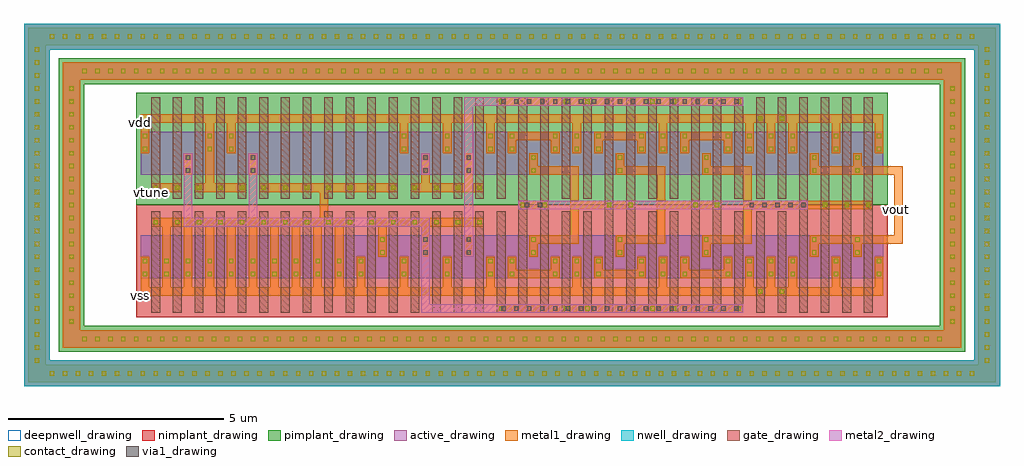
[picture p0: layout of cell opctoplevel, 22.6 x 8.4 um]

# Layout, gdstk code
import gdstk
lib = gdstk.Library(unit=1e-6, precision=1e-09)
def R(c, l, rs):  # rectangles x0, y0, x1, y1
    for r in rs: c.add(gdstk.rectangle(r[:2], r[2:], *l))
def A(c, l, x, y, w, h, nx, ny, dx, dy):  # array of equal rectangles
    R(c, l, [(x+i*dx, y+j*dy, x+i*dx+w, y+j*dy+h) for i in range(nx) for j in range(ny)])
def P(c, l, *ps):  # polygons
    for p in ps: c.add(gdstk.Polygon(p, *l))
active_drawing = (1, 0)
nwell_drawing = (3, 0)
pimplant_drawing = (4, 0)
nimplant_drawing = (5, 0)
gate_drawing = (6, 0)
contact_drawing = (7, 0)
metal1_drawing = (8, 0)
via1_drawing = (9, 0)
metal2_drawing = (10, 0)
deepnwell_drawing = (33, 0)

inverterref = lib.new_cell('inverterref')
A(inverterref, active_drawing, -0.25, 0, 0.7, 1, 4, 2, 0.5, 2.4)
A(inverterref, pimplant_drawing, -0.35, 1.7, 0.9, 2.6, 4, 1, 0.5, 0)
A(inverterref, nimplant_drawing, -0.35, -0.9, 0.9, 2.6, 4, 1, 0.5, 0)
R(inverterref, gate_drawing, [(0,-0.8,0.2,1.55), (0.5,-0.8,0.7,1.8), (1,-0.8,1.2,1.8), (1.5,-0.8,1.7,1.55), (0.5,1.7,0.7,4.2), (1,1.7,1.2,4.2), (0,1.85,0.2,4.2), (1.5,1.85,1.7,4.2)])
R(inverterref, contact_drawing, [(0.05,-0.75,0.15,-0.65), (1.55,-0.75,1.65,-0.65), (-0.2,0.05,-0.1,0.15), (0.3,0.05,0.4,0.15), (1.3,0.05,1.4,0.15), (1.8,0.05,1.9,0.15), (-0.2,0.35,-0.1,0.45), (0.3,0.35,0.4,0.45), (1.3,0.35,1.4,0.45), (1.8,0.35,1.9,0.45), (0.8,0.55,0.9,0.65), (0.8,0.85,0.9,0.95), (0.55,1.65,0.65,1.75), (1.05,1.65,1.15,1.75), (0.8,2.45,0.9,2.55), (0.8,2.75,0.9,2.85), (-0.2,2.95,-0.1,3.05), (0.3,2.95,0.4,3.05), (1.3,2.95,1.4,3.05), (1.8,2.95,1.9,3.05), (-0.2,3.25,-0.1,3.35), (0.3,3.25,0.4,3.35), (1.3,3.25,1.4,3.35), (1.8,3.25,1.9,3.35), (0.05,4.05,0.15,4.15), (1.55,4.05,1.65,4.15)])
R(inverterref, metal1_drawing, [(0,-0.8,0.2,-0.6), (1.5,-0.8,1.7,-0.6), (-0.25,-0.4,1.95,-0.2), (-0.25,-0.2,-0.05,0), (1.75,-0.2,1.95,0), (-0.25,0,-0.05,0.5), (0.25,0,0.45,0.5), (0.45,0,1.25,0.2), (1.25,0,1.45,0.5), (1.75,0,1.95,0.5), (0.75,0.5,0.95,1), (0.5,1.6,0.7,1.8), (0.5,1.6,1.2,1.8), (1,1.6,1.2,1.8), (0.75,2.4,0.95,2.9), (-0.25,2.9,-0.05,3.4), (0.25,2.9,0.45,3.4), (1.25,2.9,1.45,3.4), (1.75,2.9,1.95,3.4), (0.45,3.2,1.25,3.4), (-0.25,3.4,-0.05,3.6), (1.75,3.4,1.95,3.6), (-0.25,3.6,1.95,3.8), (0,4,0.2,4.2), (1.5,4,1.7,4.2)])
P(inverterref, metal1_drawing, [(0.95,2.4),(1.7,2.4),(1.7,1),(0.95,1),(0.95,0.8),(1.9,0.8),(1.9,2.6),(0.95,2.6)])
inverterref.add(gdstk.Label('vin', (0.5,1.6), layer=8, texttype=1))
inverterref.add(gdstk.Label('vout', (1.7,1.6), layer=8, texttype=1))
inverterref.add(gdstk.Label('vbiasp', (0.75,4), layer=8, texttype=1))
inverterref.add(gdstk.Label('vbiasn', (0.75,-0.8), layer=8, texttype=1))
inverterref.add(gdstk.Label('vdd', (-0.25,3.6), layer=8, texttype=1))
inverterref.add(gdstk.Label('vss', (-0.25,-0.4), layer=8, texttype=1))

currentmirror = lib.new_cell('currentmirror')
A(currentmirror, active_drawing, -0.25, 0, 0.7, 1, 16, 2, 0.5, 2.4)
A(currentmirror, pimplant_drawing, -0.35, 1.7, 0.9, 2.6, 16, 1, 0.5, 0)
A(currentmirror, nimplant_drawing, -0.35, -0.9, 0.9, 2.6, 16, 1, 0.5, 0)
A(currentmirror, gate_drawing, 0, -0.8, 0.2, 2.35, 16, 2, 0.5, 2.65)
A(currentmirror, contact_drawing, -0.2, 0.05, 0.1, 0.1, 11, 2, 0.5, 0.3)
A(currentmirror, contact_drawing, 5.3, 0.55, 0.1, 0.1, 3, 2, 1, 0.3)
A(currentmirror, contact_drawing, 0.05, 1.25, 0.1, 0.1, 16, 2, 0.5, 0.8)
R(currentmirror, contact_drawing, [(5.8,0.05,5.9,0.15), (6.8,0.05,6.9,0.15), (5.8,0.35,5.9,0.45), (6.8,0.35,6.9,0.45), (0.8,2.45,0.9,2.55), (2.3,2.45,2.4,2.55), (6.3,2.45,6.4,2.55), (7.3,2.45,7.4,2.55), (0.8,2.75,0.9,2.85), (2.3,2.75,2.4,2.85), (6.3,2.75,6.4,2.85), (7.3,2.75,7.4,2.85), (-0.2,2.95,-0.1,3.05), (1.3,2.95,1.4,3.05), (1.8,2.95,1.9,3.05), (5.8,2.95,5.9,3.05), (6.8,2.95,6.9,3.05), (-0.2,3.25,-0.1,3.35), (1.3,3.25,1.4,3.35), (1.8,3.25,1.9,3.35), (5.8,3.25,5.9,3.35), (6.8,3.25,6.9,3.35)])
A(currentmirror, metal1_drawing, -0.25, -0.2, 0.2, 0.2, 11, 1, 0.5, 0)
A(currentmirror, metal1_drawing, -0.25, 0, 0.2, 0.5, 11, 1, 0.5, 0)
A(currentmirror, metal1_drawing, 0.25, 0.5, 0.2, 0.7, 9, 1, 0.5, 0)
A(currentmirror, metal1_drawing, 0, 1.2, 0.2, 0.2, 16, 2, 0.5, 0.8)
R(currentmirror, metal1_drawing, [(-0.25,-0.4,7.95,-0.2), (5.75,-0.2,5.95,0), (6.75,-0.2,6.95,0), (5.75,0,5.95,0.5), (6.75,0,6.95,0.5), (5.25,0.5,5.45,1), (6.25,0.5,6.45,1), (6.25,0.5,6.45,1), (7.25,0.5,7.45,1), (7.25,0.5,7.45,1), (5.25,1,5.45,1.2), (6.25,1,6.45,1.2), (0,1.2,4.7,1.4), (3.9,1.2,4.1,2.2), (5,1.2,7.7,1.4), (0,2,0.7,2.2), (1,2,2.2,2.2), (2.5,2,5.7,2.2), (6,2,7.7,2.2), (1.25,2.2,1.45,2.9), (6.25,2.2,6.45,2.4), (7.25,2.2,7.45,2.4), (0.75,2.4,0.95,2.9), (0.75,2.4,0.95,2.9), (2.25,2.4,2.45,2.9), (2.25,2.4,2.45,2.9), (6.25,2.4,6.45,2.9), (6.25,2.4,6.45,2.9), (7.25,2.4,7.45,2.9), (7.25,2.4,7.45,2.9), (-0.25,2.9,-0.05,3.4), (1.25,2.9,1.45,3.4), (1.75,2.9,1.95,3.4), (5.75,2.9,5.95,3.4), (6.75,2.9,6.95,3.4), (-0.25,3.4,-0.05,3.6), (1.25,3.4,1.45,3.6), (1.75,3.4,1.95,3.6), (5.75,3.4,5.95,3.6), (6.75,3.4,6.95,3.6), (-0.25,3.6,7.95,3.8)])
R(currentmirror, via1_drawing, [(6.3,0.55,6.4,0.65), (7.3,0.55,7.4,0.65), (6.3,0.85,6.4,0.95), (7.3,0.85,7.4,0.95), (0.8,2.45,0.9,2.55), (2.3,2.45,2.4,2.55), (6.3,2.45,6.4,2.55), (7.3,2.45,7.4,2.55), (0.8,2.75,0.9,2.85), (2.3,2.75,2.4,2.85), (6.3,2.75,6.4,2.85), (7.3,2.75,7.4,2.85)])
R(currentmirror, metal2_drawing, [(6.25,0.5,6.45,1), (7.25,0.5,7.45,1), (7.25,0.5,7.45,2.9), (0.75,1.2,0.95,2.4), (2.25,1.2,2.45,2.4), (0.75,2.4,0.95,2.9), (2.25,2.4,2.45,2.9), (6.25,2.4,6.45,2.9), (7.25,2.4,7.45,2.9)])

buffer = lib.new_cell('buffer')
A(buffer, active_drawing, -0.25, 0, 0.7, 1, 6, 2, 0.5, 2.4)
A(buffer, pimplant_drawing, -0.35, 1.7, 0.9, 2.6, 6, 1, 0.5, 0)
A(buffer, nimplant_drawing, -0.35, -0.9, 0.9, 2.6, 6, 1, 0.5, 0)
A(buffer, gate_drawing, 1, -0.8, 0.2, 2.6, 4, 1, 0.5, 0)
A(buffer, gate_drawing, 1, 1.7, 0.2, 2.5, 4, 1, 0.5, 0)
R(buffer, gate_drawing, [(0,-0.8,0.2,1.55), (0.5,-0.8,0.7,1.55), (0,1.85,0.2,4.2), (0.5,1.85,0.7,4.2)])
A(buffer, contact_drawing, -0.2, 0.05, 0.1, 0.1, 3, 2, 0.5, 0.3)
A(buffer, contact_drawing, 1.05, 1.65, 0.1, 0.1, 4, 1, 0.5, 0)
A(buffer, contact_drawing, -0.2, 2.95, 0.1, 0.1, 3, 2, 0.5, 0.3)
R(buffer, contact_drawing, [(0.05,-0.35,0.15,-0.25), (0.55,-0.35,0.65,-0.25), (1.8,0.05,1.9,0.15), (2.8,0.05,2.9,0.15), (1.8,0.35,1.9,0.45), (2.8,0.35,2.9,0.45), (1.3,0.55,1.4,0.65), (2.3,0.55,2.4,0.65), (1.3,0.85,1.4,0.95), (2.3,0.85,2.4,0.95), (1.3,2.45,1.4,2.55), (2.3,2.45,2.4,2.55), (1.3,2.75,1.4,2.85), (2.3,2.75,2.4,2.85), (1.8,2.95,1.9,3.05), (2.8,2.95,2.9,3.05), (1.8,3.25,1.9,3.35), (2.8,3.25,2.9,3.35), (0.05,3.65,0.15,3.75), (0.55,3.65,0.65,3.75)])
A(buffer, metal1_drawing, -0.25, -0.2, 0.2, 0.2, 3, 2, 0.5, 3.6)
A(buffer, metal1_drawing, -0.25, 0, 0.2, 0.5, 3, 2, 0.5, 2.9)
A(buffer, metal1_drawing, 1, 1.6, 0.2, 0.2, 4, 1, 0.5, 0)
R(buffer, metal1_drawing, [(-0.25,-0.4,2.95,-0.2), (0,-0.4,0.2,-0.2), (0.5,-0.4,0.7,-0.2), (1.75,-0.2,1.95,0), (2.75,-0.2,2.95,0), (1.75,0,1.95,0.5), (2.75,0,2.95,0.5), (1.25,0.5,1.45,1), (2.25,0.5,2.45,1), (1,1.6,2.7,1.8), (1.25,2.4,1.45,2.9), (2.25,2.4,2.45,2.9), (1.75,2.9,1.95,3.4), (2.75,2.9,2.95,3.4), (1.75,3.4,1.95,3.6), (2.75,3.4,2.95,3.6), (-0.25,3.6,2.95,3.8), (0,3.6,0.2,3.8), (0.5,3.6,0.7,3.8)])
P(buffer, metal1_drawing, [(1.45,2.4),(3.2,2.4),(3.2,1),(1.45,1),(1.45,0.8),(3.4,0.8),(3.4,2.6),(1.45,2.6)])

nguardring = lib.new_cell('nguardring')
R(nguardring, active_drawing, [(-0.4,-0.4,22,0), (-0.4,-0.4,0,7.8), (21.6,-0.4,22,7.8), (-0.4,7.4,22,7.8)])
P(nguardring, nwell_drawing, [(-0.5,-0.5),(22.1,-0.5),(22.1,7.9),(-0.5,7.9),(-0.5,0.1),(0.1,0.1),(0.1,7.3),(21.5,7.3),(21.5,0.1),(-0.5,0.1)])
R(nguardring, nimplant_drawing, [(-0.5,-0.5,22.1,0.1), (-0.5,-0.5,0.1,7.9), (21.5,-0.5,22.1,7.9), (-0.5,7.3,22.1,7.9)])
A(nguardring, contact_drawing, 0.1, -0.25, 0.1, 0.1, 72, 2, 0.3, 7.8)
A(nguardring, contact_drawing, -0.25, 0.05, 0.1, 0.1, 1, 25, 0, 0.3)
A(nguardring, contact_drawing, 21.75, 0.05, 0.1, 0.1, 1, 25, 0, 0.3)
R(nguardring, metal1_drawing, [(-0.4,-0.4,22,0), (-0.4,-0.4,0,7.8), (21.6,-0.4,22,7.8), (-0.4,7.4,22,7.8)])
R(nguardring, deepnwell_drawing, [(-0.5,-0.5,22.1,7.9)])

pguardring = lib.new_cell('pguardring')
R(pguardring, active_drawing, [(-0.4,-0.4,20.4,0), (-0.4,-0.4,0,6.2), (20,-0.4,20.4,6.2), (-0.4,5.8,20.4,6.2)])
R(pguardring, pimplant_drawing, [(-0.5,-0.5,20.5,0.1), (-0.5,-0.5,0.1,6.3), (19.9,-0.5,20.5,6.3), (-0.5,5.7,20.5,6.3)])
A(pguardring, contact_drawing, 0.05, -0.25, 0.1, 0.1, 67, 2, 0.3, 6.2)
A(pguardring, contact_drawing, -0.25, 0.15, 0.1, 0.1, 1, 19, 0, 0.3)
A(pguardring, contact_drawing, 20.15, 0.15, 0.1, 0.1, 1, 19, 0, 0.3)
R(pguardring, metal1_drawing, [(-0.4,-0.4,20.4,0), (-0.4,-0.4,0,6.2), (20,-0.4,20.4,6.2), (-0.4,5.8,20.4,6.2)])

opctoplevel = lib.new_cell('opctoplevel')
R(opctoplevel, metal1_drawing, [(8.65,0.4,14.35,0.6), (9.15,2.8,9.85,3), (10.55,2.8,11.15,3), (12.55,2.8,13.15,3), (14.45,2.8,15.85,3), (14.45,2.8,15.85,3), (8.65,5.2,14.35,5.4)])
A(opctoplevel, via1_drawing, 8.75, 0.45, 0.1, 0.1, 19, 2, 0.3, 4.8)
A(opctoplevel, via1_drawing, 14.5, 2.85, 0.1, 0.1, 5, 1, 0.3, 0)
R(opctoplevel, via1_drawing, [(9.3,2.85,9.4,2.95), (9.6,2.85,9.7,2.95)])
R(opctoplevel, metal2_drawing, [(8.65,0.4,14.35,0.6), (9.15,2.8,15.85,3), (9.15,2.8,9.85,3), (14.45,2.8,15.85,3), (8.65,5.2,14.35,5.4)])
P(opctoplevel, metal2_drawing, [(8.1,4.1),(8.1,5.2),(8.65,5.2),(8.65,5.4),(7.9,5.4),(7.9,4.1)],
  [(1.6,2.4),(6.9,2.4),(6.9,0.4),(8.65,0.4),(8.65,0.6),(7.1,0.6),(7.1,2.6),(1.6,2.6)])
opctoplevel.add(gdstk.Reference(inverterref, (8.65,1.2)))
opctoplevel.add(gdstk.Reference(inverterref, (10.65,1.2)))
opctoplevel.add(gdstk.Reference(inverterref, (12.65,1.2)))
opctoplevel.add(gdstk.Reference(currentmirror, (0.65,1.2)))
opctoplevel.add(gdstk.Reference(buffer, (14.65,1.2)))
opctoplevel.add(gdstk.Reference(nguardring, (-1.8,-0.8)))
opctoplevel.add(gdstk.Reference(pguardring, (-1,0)))
opctoplevel.add(gdstk.Label('vtune', (0.65,3.2), layer=8, texttype=1))
opctoplevel.add(gdstk.Label('vout', (17.9,2.8), layer=8, texttype=1))
opctoplevel.add(gdstk.Label('vdd', (0.4,4.8), layer=8, texttype=1))
opctoplevel.add(gdstk.Label('vss', (0.4,0.8), layer=8, texttype=1))

lib.write_gds('opctoplevel.gds')
